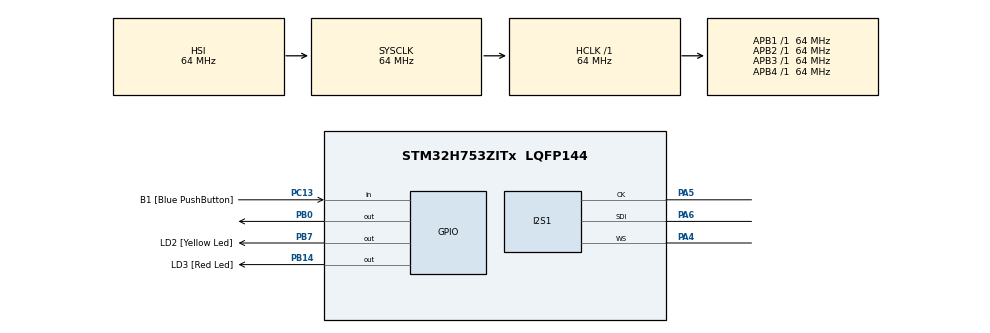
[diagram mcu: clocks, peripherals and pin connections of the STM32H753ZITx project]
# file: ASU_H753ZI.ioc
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CORTEX_M7.CPU_DCache=Disabled
CORTEX_M7.CPU_ICache=Disabled
CORTEX_M7.MPU_Control=__NULL
CORTEX_M7.default_mode_Activation=1
Dma.Request0=SPI1_RX
Dma.SPI1_RX.0.Direction=DMA_PERIPH_TO_MEMORY
Dma.SPI1_RX.0.EventEnable=DISABLE
Dma.SPI1_RX.0.FIFOMode=DMA_FIFOMODE_DISABLE
Dma.SPI1_RX.0.Instance=DMA1_Stream0
Dma.SPI1_RX.0.MemDataAlignment=DMA_MDATAALIGN_HALFWORD
Dma.SPI1_RX.0.MemInc=DMA_MINC_ENABLE
Dma.SPI1_RX.0.Mode=DMA_CIRCULAR
Dma.SPI1_RX.0.PeriphDataAlignment=DMA_PDATAALIGN_HALFWORD
Dma.SPI1_RX.0.PeriphInc=DMA_PINC_DISABLE
Dma.SPI1_RX.0.Polarity=HAL_DMAMUX_REQ_GEN_RISING
Dma.SPI1_RX.0.Priority=DMA_PRIORITY_VERY_HIGH
Dma.SPI1_RX.0.RequestNumber=1
Dma.SPI1_RX.0.SignalID=NONE
Dma.SPI1_RX.0.SyncEnable=DISABLE
Dma.SPI1_RX.0.SyncPolarity=HAL_DMAMUX_SYNC_NO_EVENT
Dma.SPI1_RX.0.SyncRequestNumber=1
Dma.SPI1_RX.0.SyncSignalID=NONE
I2S1.AudioFreq=I2S_AUDIOFREQ_16K
I2S1.ErrorAudioFreq=-0.01 %
I2S1.Instance=SPI$Index
I2S1.RealAudioFreq=15.997 KHz
Mcu.Family=STM32H7
Mcu.Name=STM32H753ZITx
Mcu.Package=LQFP144
NUCLEO-H753ZI.Bsp_Common_DEMO=true
NUCLEO-H753ZI.LD1=true
NUCLEO-H753ZI.VCP=true
NVIC.DMA1_Stream0_IRQn=true\:0\:0\:false\:false\:true\:false\:true\:true
NVIC.PriorityGroup=NVIC_PRIORITYGROUP_4
PA13\ (JTMS/SWDIO).Mode=Serial_Wire
PA13\ (JTMS/SWDIO).Signal=DEBUG_JTMS-SWDIO
PA14\ (JTCK/SWCLK).Mode=Serial_Wire
PA14\ (JTCK/SWCLK).Signal=DEBUG_JTCK-SWCLK
PA4.Mode=Half_Duplex_Master_Rx
PA4.Signal=I2S1_WS
PA5.Mode=Half_Duplex_Master_Rx
PA5.Signal=I2S1_CK
PA6.Mode=Half_Duplex_Master_Rx
PA6.Signal=I2S1_SDI
PB0.Signal=GPIO_Output
PB14.GPIO_Label=LD3 [Red Led]
PB14.Signal=GPIO_Output
PB7.GPIO_Label=LD2 [Yellow Led]
PB7.Signal=GPIO_Output
PC13.GPIO_Label=B1 [Blue PushButton]
PC13.Signal=GPIO_Input
PC14-OSC32_IN\ (OSC32_IN).Mode=LSE-External-Oscillator
PC14-OSC32_IN\ (OSC32_IN).Signal=RCC_OSC32_IN
PC15-OSC32_OUT\ (OSC32_OUT).Mode=LSE-External-Oscillator
PC15-OSC32_OUT\ (OSC32_OUT).Signal=RCC_OSC32_OUT
PD8.Signal=USART3_TX
PD9.Signal=USART3_RX
PH0-OSC_IN\ (PH0).Mode=HSE-External-Clock-Source
PH0-OSC_IN\ (PH0).Signal=RCC_OSC_IN
PH1-OSC_OUT\ (PH1).Signal=RCC_OSC_OUT
ProjectManager.HeapSize=0x200
ProjectManager.StackSize=0x400
ProjectManager.TargetToolchain=STM32CubeIDE
RCC.ADCFreq_Value=129000000
RCC.APB1Freq_Value=64000000
RCC.APB2Freq_Value=64000000
RCC.APB3Freq_Value=64000000
RCC.APB4Freq_Value=64000000
RCC.CortexFreq_Value=64000000
RCC.DIVM1=4
RCC.DIVN1=10
RCC.DIVQ1=1
RCC.DIVR1=6
RCC.HCLKFreq_Value=64000000
RCC.HSE_VALUE=8000000
RCC.PLLFRACN=0
RCC.PWR_Regulator_Voltage_Scale=PWR_REGULATOR_VOLTAGE_SCALE2
RCC.SPI123CLockSelection=RCC_SPI123CLKSOURCE_PLL2
RCC.SYSCLKFreq_VALUE=64000000
RCC.USBFreq_Value=160000000
VP_MEMORYMAP_VS_MEMORYMAP.Mode=CurAppReg
VP_NUCLEO-H753ZI_VS_BSP_COMMON.Mode=COMMON
board=NUCLEO-H753ZI

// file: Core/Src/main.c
/* USER CODE BEGIN Header */
/**
  ******************************************************************************
  * @file           : main.c
  * @brief          : Main program body
  ******************************************************************************
  * @attention
  *
  * Copyright (c) 2025 STMicroelectronics.
  * All rights reserved.
  *
  * This software is licensed under terms that can be found in the LICENSE file
  * in the root directory of this software component.
  * If no LICENSE file comes with this software, it is provided AS-IS.
  *
  ******************************************************************************
  */
/* USER CODE END Header */
#include "main.h"

/* USER CODE BEGIN PD */
#define I2S_DMA_BUFFER_SIZE 256
#define AUDIO_BUFFER_SIZE (I2S_DMA_BUFFER_SIZE / 2)
#define UART_BUFFER_SIZE 256

/* USER CODE END PD */

COM_InitTypeDef BspCOMInit;
__IO uint32_t BspButtonState = BUTTON_RELEASED;

I2S_HandleTypeDef hi2s1;
DMA_HandleTypeDef hdma_spi1_rx;

/* USER CODE BEGIN PV */
int16_t I2S_DMA_BUFFER[I2S_DMA_BUFFER_SIZE];
int16_t AUDIO_BUFFER[AUDIO_BUFFER_SIZE];
int8_t UART_BUFFER[UART_BUFFER_SIZE];

volatile int16_t I2S_CURRENT_SAMPLE, counter;
volatile uint8_t Half_Cplt_Flag = 0, Full_Cplt_Flag = 0;

static volatile int16_t *inpBuffPtr;
static volatile int16_t *audioBuffPtr = &AUDIO_BUFFER[0];

/* USER CODE END PV */

void SystemClock_Config(void);
static void MX_GPIO_Init(void);
static void MX_DMA_Init(void);
static void MX_I2S1_Init(void);

/* USER CODE BEGIN 0 */
static void ProcessAudio(int16_t *INPUT_BUFFER, int16_t *OUTPUT_BUFFER, uint16_t OUTPUT_SIZE){
    for (uint16_t i = 0; i < OUTPUT_SIZE; i++) {
        OUTPUT_BUFFER[i] = INPUT_BUFFER[2 * i];   // pick left channel only
    }
}

/* USER CODE END 0 */

int main(void)
{

  /* MCU Configuration--------------------------------------------------------*/

  /* Reset of all peripherals, Initializes the Flash interface and the Systick. */
  HAL_Init();

  /* Configure the system clock */
  SystemClock_Config();

  /* Initialize all configured peripherals */
  MX_GPIO_Init();
  MX_DMA_Init();
  MX_I2S1_Init();
  /* USER CODE BEGIN 2 */

  HAL_I2S_Receive_DMA(&hi2s1, (uint16_t *)I2S_DMA_BUFFER, I2S_DMA_BUFFER_SIZE);
  /* USER CODE END 2 */

  /* Initialize leds */
  BSP_LED_Init(LED_GREEN);

  /* Initialize COM1 port (115200, 8 bits (7-bit data + 1 stop bit), no parity */
  BspCOMInit.BaudRate   = 115200;
  BspCOMInit.WordLength = COM_WORDLENGTH_8B;
  BspCOMInit.StopBits   = COM_STOPBITS_1;
  BspCOMInit.Parity     = COM_PARITY_NONE;
  BspCOMInit.HwFlowCtl  = COM_HWCONTROL_NONE;
  if (BSP_COM_Init(COM1, &BspCOMInit) != BSP_ERROR_NONE)
  {
    Error_Handler();
  }

  /* USER CODE BEGIN BSP */

  /* -- Sample board code to send message over COM1 port ---- */
  //printf("Welcome to STM32 world !\n\r");

  /* -- Sample board code to switch on leds ---- */
  //BSP_LED_On(LED_GREEN);

  /* USER CODE END BSP */

  /* Infinite loop */
  while (1)
  {
	  if(Full_Cplt_Flag == 1){
	 		  ProcessAudio((int16_t *)inpBuffPtr, (int16_t *)audioBuffPtr, AUDIO_BUFFER_SIZE / 2);
	 		  Full_Cplt_Flag = 0;
	 		  Half_Cplt_Flag = 0;
	  }

	  if(Half_Cplt_Flag == 1){
		  ProcessAudio((int16_t *)inpBuffPtr, (int16_t *)audioBuffPtr, AUDIO_BUFFER_SIZE / 2);
	  }

  }
}

void SystemClock_Config(void)
{
  RCC_OscInitTypeDef RCC_OscInitStruct = {0};
  RCC_ClkInitTypeDef RCC_ClkInitStruct = {0};

  /** Supply configuration update enable
  */
  HAL_PWREx_ConfigSupply(PWR_LDO_SUPPLY);

  /** Configure the main internal regulator output voltage
  */
  __HAL_PWR_VOLTAGESCALING_CONFIG(PWR_REGULATOR_VOLTAGE_SCALE2);

  while(!__HAL_PWR_GET_FLAG(PWR_FLAG_VOSRDY)) {}

  /** Macro to configure the PLL clock source
  */
  __HAL_RCC_PLL_PLLSOURCE_CONFIG(RCC_PLLSOURCE_HSI);

  /** Initializes the RCC Oscillators according to the specified parameters
  * in the RCC_OscInitTypeDef structure.
  */
  RCC_OscInitStruct.OscillatorType = RCC_OSCILLATORTYPE_HSI;
  RCC_OscInitStruct.HSIState = RCC_HSI_DIV1;
  RCC_OscInitStruct.HSICalibrationValue = RCC_HSICALIBRATION_DEFAULT;
  RCC_OscInitStruct.PLL.PLLState = RCC_PLL_NONE;
  if (HAL_RCC_OscConfig(&RCC_OscInitStruct) != HAL_OK)
  {
    Error_Handler();
  }

  /** Initializes the CPU, AHB and APB buses clocks
  */
  RCC_ClkInitStruct.ClockType = RCC_CLOCKTYPE_HCLK|RCC_CLOCKTYPE_SYSCLK
                              |RCC_CLOCKTYPE_PCLK1|RCC_CLOCKTYPE_PCLK2
                              |RCC_CLOCKTYPE_D3PCLK1|RCC_CLOCKTYPE_D1PCLK1;
  RCC_ClkInitStruct.SYSCLKSource = RCC_SYSCLKSOURCE_HSI;
  RCC_ClkInitStruct.SYSCLKDivider = RCC_SYSCLK_DIV1;
  RCC_ClkInitStruct.AHBCLKDivider = RCC_HCLK_DIV1;
  RCC_ClkInitStruct.APB3CLKDivider = RCC_APB3_DIV1;
  RCC_ClkInitStruct.APB1CLKDivider = RCC_APB1_DIV1;
  RCC_ClkInitStruct.APB2CLKDivider = RCC_APB2_DIV1;
  RCC_ClkInitStruct.APB4CLKDivider = RCC_APB4_DIV1;

  if (HAL_RCC_ClockConfig(&RCC_ClkInitStruct, FLASH_LATENCY_1) != HAL_OK)
  {
    Error_Handler();
  }
}

static void MX_I2S1_Init(void)
{

  hi2s1.Instance = SPI1;
  hi2s1.Init.Mode = I2S_MODE_MASTER_RX;
  hi2s1.Init.Standard = I2S_STANDARD_PHILIPS;
  hi2s1.Init.DataFormat = I2S_DATAFORMAT_16B;
  hi2s1.Init.MCLKOutput = I2S_MCLKOUTPUT_DISABLE;
  hi2s1.Init.AudioFreq = I2S_AUDIOFREQ_16K;
  hi2s1.Init.CPOL = I2S_CPOL_LOW;
  hi2s1.Init.FirstBit = I2S_FIRSTBIT_MSB;
  hi2s1.Init.WSInversion = I2S_WS_INVERSION_DISABLE;
  hi2s1.Init.Data24BitAlignment = I2S_DATA_24BIT_ALIGNMENT_RIGHT;
  hi2s1.Init.MasterKeepIOState = I2S_MASTER_KEEP_IO_STATE_DISABLE;
  if (HAL_I2S_Init(&hi2s1) != HAL_OK)
  {
    Error_Handler();
  }

}

static void MX_DMA_Init(void)
{

  /* DMA controller clock enable */
  __HAL_RCC_DMA1_CLK_ENABLE();

  /* DMA interrupt init */
  /* DMA1_Stream0_IRQn interrupt configuration */
  HAL_NVIC_SetPriority(DMA1_Stream0_IRQn, 0, 0);
  HAL_NVIC_EnableIRQ(DMA1_Stream0_IRQn);

}

static void MX_GPIO_Init(void)
{
  GPIO_InitTypeDef GPIO_InitStruct = {0};

  /* GPIO Ports Clock Enable */
  __HAL_RCC_GPIOC_CLK_ENABLE();
  __HAL_RCC_GPIOH_CLK_ENABLE();
  __HAL_RCC_GPIOA_CLK_ENABLE();
  __HAL_RCC_GPIOB_CLK_ENABLE();

  /*Configure GPIO pin Output Level */
  HAL_GPIO_WritePin(GPIOB, LD3_Pin|LD2_Pin, GPIO_PIN_RESET);

  /*Configure GPIO pin : B1_Pin */
  GPIO_InitStruct.Pin = B1_Pin;
  GPIO_InitStruct.Mode = GPIO_MODE_INPUT;
  GPIO_InitStruct.Pull = GPIO_NOPULL;
  HAL_GPIO_Init(B1_GPIO_Port, &GPIO_InitStruct);

  /*Configure GPIO pins : LD3_Pin LD2_Pin */
  GPIO_InitStruct.Pin = LD3_Pin|LD2_Pin;
  GPIO_InitStruct.Mode = GPIO_MODE_OUTPUT_PP;
  GPIO_InitStruct.Pull = GPIO_NOPULL;
  GPIO_InitStruct.Speed = GPIO_SPEED_FREQ_LOW;
  HAL_GPIO_Init(GPIOB, &GPIO_InitStruct);

}

/* USER CODE BEGIN 4 */
void HAL_I2S_RxHalfCpltCallback(I2S_HandleTypeDef *hi2s){
	inpBuffPtr = &I2S_DMA_BUFFER[0];
	audioBuffPtr = &AUDIO_BUFFER[0];
	Half_Cplt_Flag = 1;

	counter ++;
}

void HAL_I2S_RxCpltCallback(I2S_HandleTypeDef *hi2s){
	inpBuffPtr = &I2S_DMA_BUFFER[I2S_DMA_BUFFER_SIZE/2];
	audioBuffPtr = &AUDIO_BUFFER[AUDIO_BUFFER_SIZE/2];
	Full_Cplt_Flag = 1;

	I2S_CURRENT_SAMPLE = I2S_DMA_BUFFER[0];
}

/* USER CODE END 4 */

void Error_Handler(void)
{
  __disable_irq();
  while (1)
  {
  }
}
